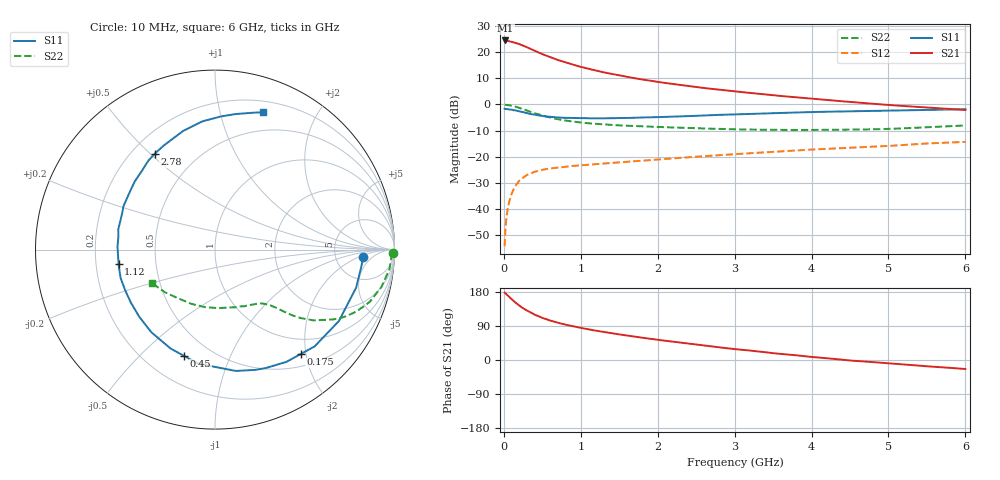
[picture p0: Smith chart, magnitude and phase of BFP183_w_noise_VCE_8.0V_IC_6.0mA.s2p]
! Infineon Technologies  Discrete & RF Semiconductors
! BFP183
! VCE = 8.0 V,  IC =  6.0 mA
! Common Emitter S-Parameters:  Jan 2016
# GHz  S  MA  R  50
!  f  S11  S21  S12  S22
! GHz  MAG  ANG  MAG  ANG  MAG  ANG  MAG  ANG
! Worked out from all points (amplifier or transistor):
!   210 points, 10 MHz to 6 GHz, reference 50 ohm
!   highest |S21| = 24.6 dB at 20 MHz (marker M1)
!   |S21| within 3 dB of that: start of sweep to 329.7 MHz
!   unconditionally stable (mu >= 1): 1.552 GHz to 5.756 GHz
!   at 185 MHz: K = 0.18, MSG = 26.6 dB, |S12| = -29.9 dB
!   at 1.52 GHz: K = 0.99, MSG = 16.6 dB, |S12| = -22.2 dB
!   at 6 GHz: K = 0.95, MSG = 6.1 dB, |S12| = -14.4 dB
!   lowest NFmin = 1.20 dB at 450 MHz
!   S11 on the Smith chart (normalised r, x): 10 MHz: 10, -3; 175 MHz: 0.71, -1.90; 450 MHz: 0.36, -0.69; 1.12 GHz: 0.30, -0.07; 2.78 GHz: 0.29, +0.51; 6 GHz: 0.31, +1.36
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0.01  0.8264 -3.0  16.92 177.9  0.0019 87.8  0.9913 -1.2
0.02  0.8211 -6.4  16.98 176.3  0.004 84.7  0.9844 -2.6
0.05  0.8144 -15.1  16.7 170.1  0.0098 82.2  0.9776 -6.5
0.1  0.7968 -30.0  16.07 160.7  0.0191 73.9  0.9496 -12.8
0.15  0.7739 -44.2  15.36 151.8  0.0272 66.7  0.9097 -18.7
0.175  0.7526 -50.7  14.88 147.9  0.0307 64.2  0.8855 -21.0
0.24  0.718 -66.8  13.68 137.9  0.0383 57.7  0.8234 -26.6
0.3  0.6859 -80.3  12.6 130.5  0.0442 52.5  0.7629 -30.7
0.4  0.642 -98.6  10.78 119.6  0.051 45.8  0.6795 -35.5
0.45  0.6172 -106.2  9.994 115.7  0.0534 43.6  0.6464 -36.9
0.5  0.604 -114.2  9.261 111.1  0.0558 41.6  0.6138 -38.5
0.58  0.5833 -124.8  8.384 105.7  0.0584 39.1  0.5721 -40.1
0.7  0.5643 -138.2  7.169 98.4  0.0613 36.7  0.5214 -41.8
1.02  0.5474 -164.6  5.188 84.0  0.0681 33.5  0.448 -44.7
1.12  0.5432 -171.6  4.776 80.1  0.0702 33.3  0.4333 -45.5
1.5  0.5507 168.2  3.623 67.5  0.0775 33.4  0.3964 -49.1
2.02  0.5726 146.3  2.689 52.8  0.0882 33.8  0.3702 -55.9
2.78  0.6303 122.3  1.939 33.7  0.1057 32.8  0.342 -69.9
3.1  0.6518 113.9  1.727 26.9  0.1134 32.2  0.3314 -76.9
4.1  0.7216 94.0  1.258 6.4  0.1384 28.2  0.3249 -102.4
5.1  0.7677 80.2  0.956 -10.3  0.1635 24.0  0.3438 -129.4
6  0.8106 70.8  0.784 -23.8  0.1915 17.1  0.3965 -151.6
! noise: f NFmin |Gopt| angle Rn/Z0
0.45  1.2  0.21  41  0.24
0.9  1.25  0.24  101  0.21
1.8  2  0.32  175  0.14
